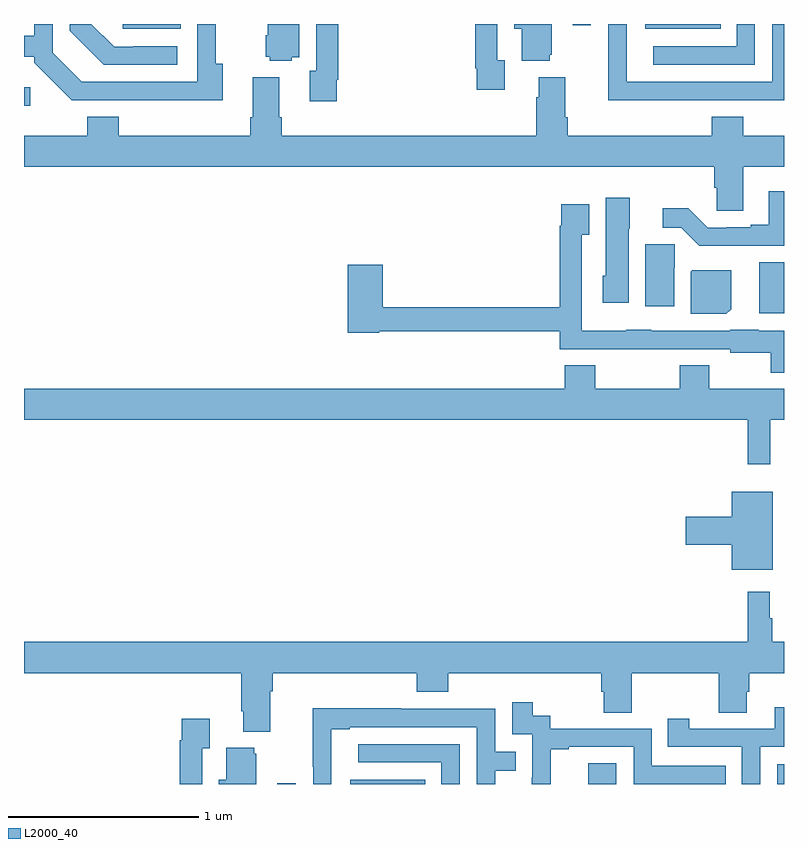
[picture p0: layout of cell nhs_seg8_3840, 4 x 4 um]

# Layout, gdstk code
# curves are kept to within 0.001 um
import gdstk
lib = gdstk.Library(unit=1e-6, precision=1e-09)
def R(c, l, rs):  # rectangles x0, y0, x1, y1
    for r in rs: c.add(gdstk.rectangle(r[:2], r[2:], *l))
def P(c, l, *ps):  # polygons
    for p in ps: c.add(gdstk.Polygon(p, *l))
L2000_40 = (2000, 40)

nhs_seg8_3840 = lib.new_cell('nhs_seg8_3840')
R(nhs_seg8_3840, L2000_40, [(348.333,1131.9,348.429,1131.904), (348.716,1131.9,349.112,1131.922), (349.971,1131.9,350.118,1132.009), (350.964,1131.9,351,1132.005), (350.87,1134.377,351,1134.646), (347,1135.469,347.032,1135.567), (350.27,1135.874,350.666,1135.9), (347.52,1135.875,347.824,1135.9), (349.887,1135.893,349.983,1135.9)])
P(nhs_seg8_3840, L2000_40, [(349.766,1135.737),(349.777,1135.737),(349.777,1135.9),(349.58,1135.9),(349.58,1135.874),(349.619,1135.874),(349.619,1135.706),(349.766,1135.706)],
  [(350.847,1135.9),(350.751,1135.9),(350.751,1135.782),(350.313,1135.782),(350.313,1135.686),(350.847,1135.686)],
  [(347.806,1135.782),(347.575,1135.782),(347.575,1135.779),(347.475,1135.779),(347.354,1135.9),(347.241,1135.9),(347.241,1135.865),(347.42,1135.686),(347.806,1135.686)],
  [(350.537,1135.5),(351,1135.5),(351,1135.9),(350.937,1135.9),(350.937,1135.596),(350.173,1135.596),(350.173,1135.85),(350.172,1135.85),(350.172,1135.9),(350.076,1135.9),(350.076,1135.805),(350.074,1135.805),(350.074,1135.499),(350.537,1135.499)],
  [(348.408,1135.724),(348.448,1135.724),(348.448,1135.9),(348.284,1135.9),(348.284,1135.842),(348.272,1135.842),(348.272,1135.728),(348.294,1135.728),(348.294,1135.706),(348.408,1135.706)],
  [(348.646,1135.606),(348.653,1135.606),(348.653,1135.9),(348.537,1135.9),(348.537,1135.655),(348.503,1135.655),(348.503,1135.494),(348.646,1135.494)],
  [(349.531,1135.71),(349.491,1135.71),(349.491,1135.9),(349.375,1135.9),(349.375,1135.666),(349.383,1135.666),(349.383,1135.554),(349.531,1135.554)],
  [(348.046,1135.69),(348.009,1135.69),(348.009,1135.9),(347.913,1135.9),(347.913,1135.596),(347.304,1135.596),(347.151,1135.749),(347.151,1135.9),(347.054,1135.9),(347.054,1135.837),(347,1135.837),(347,1135.727),(347.055,1135.727),(347.055,1135.695),(347.25,1135.5),(348.046,1135.499)],
  [(350.785,1135.148),(351,1135.148),(351,1135.312),(350.786,1135.312),(350.786,1135.411),(350.621,1135.411),(350.621,1135.312),(349.862,1135.312),(349.862,1135.408),(349.849,1135.408),(349.849,1135.621),(349.709,1135.621),(349.709,1135.514),(349.697,1135.514),(349.697,1135.312),(348.356,1135.312),(348.356,1135.408),(348.343,1135.408),(348.343,1135.621),(348.203,1135.621),(348.203,1135.408),(348.191,1135.408),(348.191,1135.312),(347.498,1135.312),(347.498,1135.411),(347.333,1135.411),(347.333,1135.312),(347,1135.312),(347,1135.148),(350.633,1135.148),(350.633,1135.038),(350.646,1135.038),(350.646,1134.916),(350.785,1134.916)],
  [(351,1135.021),(350.921,1135.021),(350.921,1134.844),(350.825,1134.844),(350.825,1134.831),(350.698,1134.831),(350.698,1134.828),(350.598,1134.828),(350.496,1134.931),(350.361,1134.931),(350.361,1134.828),(350.46,1134.828),(350.555,1134.734),(351,1134.734)],
  [(350.182,1134.822),(350.188,1134.822),(350.188,1134.985),(350.063,1134.985),(350.063,1134.576),(350.045,1134.576),(350.045,1134.432),(350.182,1134.432)],
  [(351,1134.286),(350.868,1134.286),(350.868,1134.292),(350.718,1134.292),(350.718,1134.285),(350.301,1134.285),(350.301,1134.292),(350.169,1134.292),(350.169,1134.286),(349.935,1134.286),(349.935,1134.791),(349.975,1134.791),(349.975,1134.952),(349.827,1134.952),(349.827,1134.839),(349.819,1134.839),(349.819,1134.41),(348.887,1134.41),(348.887,1134.634),(348.704,1134.634),(348.704,1134.274),(348.87,1134.274),(348.87,1134.282),(349.819,1134.282),(349.819,1134.189),(350.069,1134.189),(350.069,1134.188),(350.301,1134.188),(350.301,1134.189),(350.718,1134.189),(350.718,1134.17),(350.931,1134.17),(350.931,1134.065),(351,1134.065)],
  [(350.422,1134.618),(350.426,1134.618),(350.426,1134.741),(350.27,1134.741),(350.27,1134.414),(350.422,1134.414)],
  [(350.722,1134.4),(350.722,1134.604),(350.518,1134.604),(350.51,1134.596),(350.51,1134.374),(350.696,1134.374)],
  [(350.927,1133.816),(351,1133.816),(351,1133.98),(350.607,1133.98),(350.607,1134.104),(350.452,1134.104),(350.452,1133.98),(350.007,1133.98),(350.007,1134.104),(349.847,1134.104),(349.847,1133.98),(347,1133.98),(347,1133.816),(350.809,1133.816),(350.809,1133.583),(350.927,1133.583)],
  [(350.941,1133.437),(350.726,1133.437),(350.726,1133.306),(350.484,1133.306),(350.484,1133.159),(350.726,1133.159),(350.726,1133.027),(350.941,1133.027)],
  [(348.295,1132.388),(348.308,1132.388),(348.308,1132.484),(349.067,1132.484),(349.067,1132.385),(349.232,1132.385),(349.232,1132.484),(350.039,1132.484),(350.039,1132.386),(350.051,1132.386),(350.051,1132.276),(350.199,1132.276),(350.199,1132.484),(350.656,1132.484),(350.656,1132.276),(350.803,1132.276),(350.803,1132.386),(350.816,1132.386),(350.816,1132.484),(351,1132.484),(351,1132.648),(350.938,1132.648),(350.938,1132.772),(350.926,1132.772),(350.926,1132.912),(350.809,1132.912),(350.809,1132.648),(347,1132.648),(347,1132.484),(348.143,1132.484),(348.143,1132.282),(348.155,1132.282),(348.155,1132.175),(348.295,1132.175)],
  [(349.772,1132.083),(349.867,1132.083),(349.867,1132.095),(350.208,1132.095),(350.208,1131.9),(350.693,1131.9),(350.693,1131.996),(350.304,1131.996),(350.304,1132.191),(349.77,1132.191),(349.77,1132.26),(349.678,1132.26),(349.678,1132.33),(349.569,1132.33),(349.569,1132.161),(349.674,1132.161),(349.674,1131.932),(349.673,1131.932),(349.673,1131.9),(349.772,1131.9)],
  [(350.874,1132.095),(351,1132.095),(351,1132.303),(350.951,1132.303),(350.951,1132.191),(350.5,1132.191),(350.5,1132.243),(350.389,1132.243),(350.389,1132.095),(350.778,1132.095),(350.778,1131.9),(350.874,1131.9)],
  [(348.618,1132.188),(348.715,1132.188),(348.715,1132.2),(349.383,1132.2),(349.383,1131.9),(349.479,1131.9),(349.479,1131.97),(349.589,1131.97),(349.589,1132.071),(349.479,1132.071),(349.479,1132.296),(348.983,1132.296),(348.983,1132.298),(348.52,1132.298),(348.52,1131.991),(348.522,1131.991),(348.522,1131.9),(348.618,1131.9)],
  [(347.937,1132.087),(347.977,1132.087),(347.977,1132.243),(347.829,1132.243),(347.829,1132.13),(347.821,1132.13),(347.821,1131.9),(347.937,1131.9)],
  [(349.293,1132.11),(348.759,1132.11),(348.759,1132.014),(349.197,1132.014),(349.197,1131.9),(349.293,1131.9)],
  [(348.223,1132.059),(348.212,1132.059),(348.212,1132.09),(348.065,1132.09),(348.065,1131.922),(348.026,1131.922),(348.026,1131.9),(348.223,1131.9)])

lib.write_gds('nhs_seg8_3840.gds')
